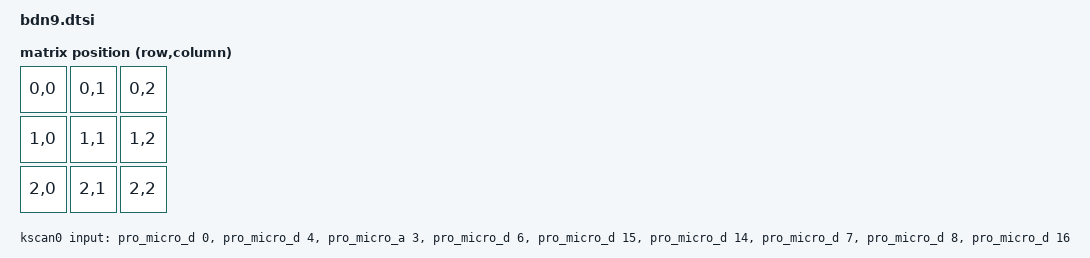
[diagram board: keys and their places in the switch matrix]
#include <dt-bindings/zmk/matrix-transform.h>

/ {
	chosen {
		zmk,kscan = &kscan0;
		zmk,matrix_transform = &default_transform;
	};

	default_transform: keymap_transform_0 {
		compatible = "zmk,matrix-transform";
		columns = <9>;
		rows = <1>;

		map = <
RC(0,0) RC(0,1) RC(0,2)
RC(1,0) RC(1,1) RC(1,2)
RC(2,0) RC(2,1) RC(2,2)
		>;
	};

	kscan0: kscan_0 {
		compatible = "zmk,kscan-gpio-direct";

		label = "KSCAN";

		input-gpios
			= <&pro_micro_d 0 (GPIO_ACTIVE_LOW | GPIO_PULL_UP)>
			, <&pro_micro_d 4 (GPIO_ACTIVE_LOW | GPIO_PULL_UP)>
			, <&pro_micro_a 3 (GPIO_ACTIVE_LOW | GPIO_PULL_UP)>
			, <&pro_micro_d 6 (GPIO_ACTIVE_LOW | GPIO_PULL_UP)>
			, <&pro_micro_d 15 (GPIO_ACTIVE_LOW | GPIO_PULL_UP)>
			, <&pro_micro_d 14 (GPIO_ACTIVE_LOW | GPIO_PULL_UP)>
			, <&pro_micro_d 7 (GPIO_ACTIVE_LOW | GPIO_PULL_UP)>
			, <&pro_micro_d 8 (GPIO_ACTIVE_LOW | GPIO_PULL_UP)>
			, <&pro_micro_d 16 (GPIO_ACTIVE_LOW | GPIO_PULL_UP)>
			;

	sensors {
		compatible = "zmk,keymap-sensors";
		sensors = <&left_encoder>;
	};
};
